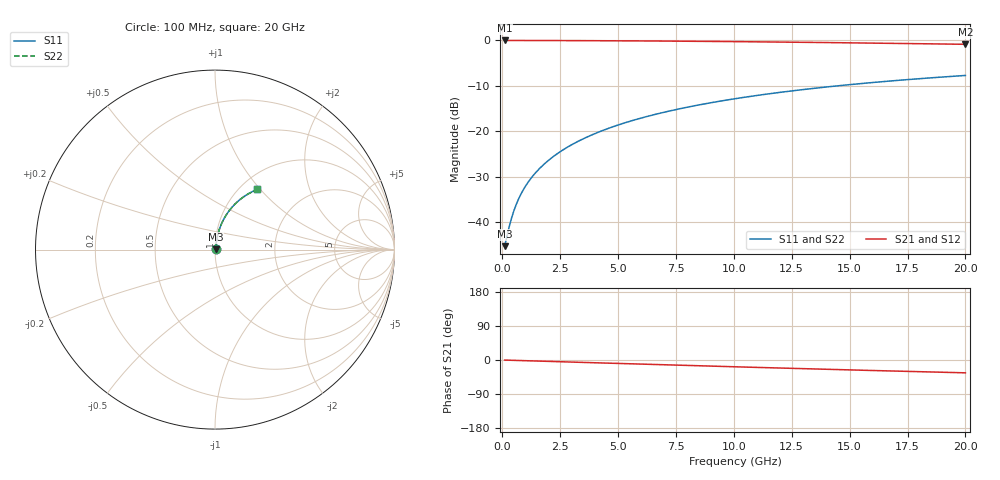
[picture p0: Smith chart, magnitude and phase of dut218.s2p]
! Touchstone file exported from HFSS 2026.1.0
!  File:  C:/ffzhzh/LocalFiles/Ansys_Project_Files/temp_train_BSMRDL_218_1782988012_45328.aedt
!  Generated:  06:28:04 PM Jul  2, 2026
!  Design:  BSMRDL
!  Project:  temp_train_BSMRDL_218_1782988012_45328
! Variables:
!  h_bsmrdl = 2.03um
!  h_ox = 20um
!  h_rdl = 5um
!  h_sub = 80um
!  h_tmrdl = 5um
!  h_tsv = 80um
!  h_via = 3um
!  l_bsmrdl = 388.43um
!  l_sub = 788.43um
!  l_tmrdl = 200um
!  m_sub = 200um
!  pitch = 54.4um
!  r_tsv = 6um
!  s_tmrdl = 10um
!  w_bsmrdl = 14.83um
!  w_sub = 500um
!  w_tmrdl = 12um
!  x_tsv_center1 = 206um
!  x_tsv_center2 = 609.26um
!  x_tsv_center3 = 821.26um
!  x_tsv_center4 = 1224.52um
!  x_tsv_center5 = 1436.52um
!  x_tsv_center6 = 1839.78um
# GHz S MA R 50.000000
! Terminal data exported
! Port[1] = BSM_RDL1_1_T1
! Port[2] = BSM_RDL1_1_T2
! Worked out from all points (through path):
!   200 points, 100 MHz to 20 GHz, reference 50 ohm
!   highest |S21| = -0.04 dB at 100 MHz (marker M1); lowest = -0.9 dB at 20 GHz (marker M2)
!   group delay of S21, straight-line fit = 4.72 ps
!   lowest |S11| = -45.3 dB at 100 MHz (marker M3), VSWR 1.01, Z = 50.5 + j0.249 ohm
!   |S11| at or under -10 dB: start of sweep to 14.54 GHz
!   |S22| runs from -45.3 to -7.7 dB; largest |S21 - S12| = 2.1e-15
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0.1  0.005416 27.1  0.9952 -0.2  0.9952 -0.2  0.005416 27.1
! Gamma 0 0 0 0
! Port Impedance 50 0 50 0
0.3  0.008889 55.9  0.9951 -0.6  0.9951 -0.6  0.008889 55.9
0.4  0.01104 62.4  0.995 -0.8  0.995 -0.8  0.01104 62.4
0.5  0.01327 66.6  0.9949 -0.9  0.9949 -0.9  0.01327 66.6
0.6  0.01555 69.5  0.9947 -1.1  0.9947 -1.1  0.01555 69.5
0.7  0.01784 71.6  0.9946 -1.3  0.9946 -1.3  0.01784 71.6
0.9  0.02244 74.4  0.9944 -1.7  0.9944 -1.7  0.02244 74.4
1.2  0.02935 76.8  0.994 -2.2  0.994 -2.2  0.02935 76.8
1.4  0.03396 77.8  0.9938 -2.6  0.9938 -2.6  0.03396 77.8
1.7  0.04087 78.7  0.9934 -3.1  0.9934 -3.1  0.04087 78.7
2.2  0.05242 79.5  0.9927 -4.0  0.9927 -4.0  0.05242 79.5
2.8  0.06627 79.7  0.9918 -5.1  0.9918 -5.1  0.06627 79.7
3.5  0.08241 79.3  0.9905 -6.4  0.9905 -6.4  0.08241 79.3
4.2  0.09849 78.7  0.9889 -7.6  0.9889 -7.6  0.09849 78.7
5  0.1167 77.8  0.9868 -9.1  0.9868 -9.1  0.1167 77.8
5.9  0.1371 76.6  0.984 -10.7  0.984 -10.7  0.1371 76.6
6.8  0.1572 75.3  0.9809 -12.3  0.9809 -12.3  0.1572 75.3
8.3  0.1901 73.0  0.9748 -14.9  0.9748 -14.9  0.1901 73.0
10.1  0.2284 70.1  0.9662 -18.0  0.9662 -18.0  0.2284 70.1
13.4  0.2947 64.9  0.9475 -23.5  0.9475 -23.5  0.2947 64.9
16.7  0.3553 59.8  0.9259 -28.8  0.9259 -28.8  0.3553 59.7
20  0.4099 54.8  0.9027 -33.9  0.9027 -33.9  0.4099 54.8
